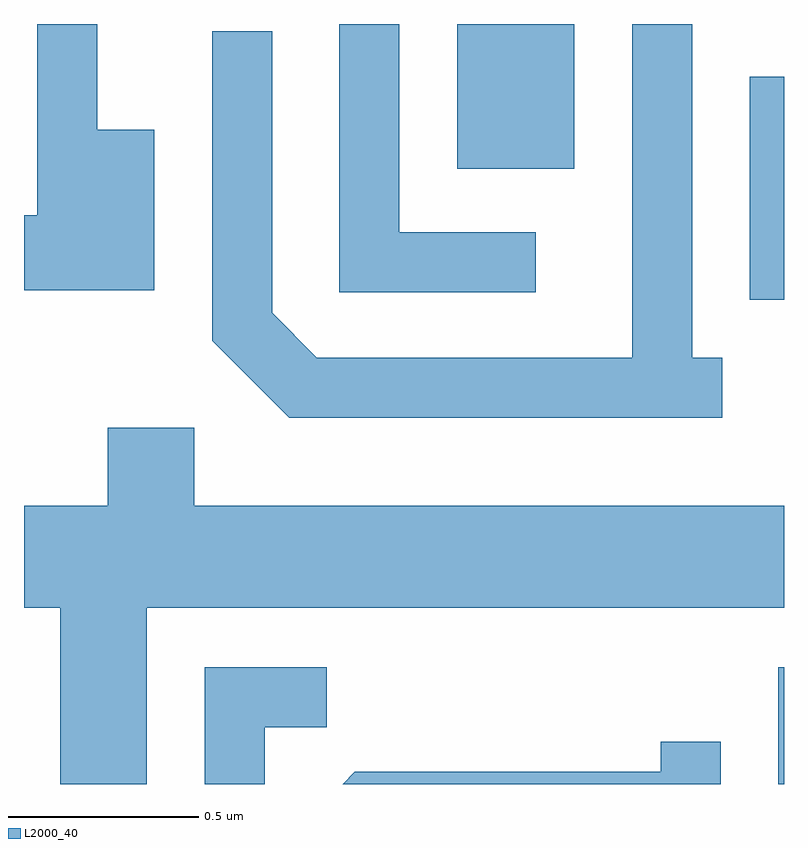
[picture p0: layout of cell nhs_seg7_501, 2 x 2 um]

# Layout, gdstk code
import gdstk
lib = gdstk.Library(unit=1e-6, precision=1e-09)
def R(c, l, rs):  # rectangles x0, y0, x1, y1
    for r in rs: c.add(gdstk.rectangle(r[:2], r[2:], *l))
def P(c, l, *ps):  # polygons
    for p in ps: c.add(gdstk.Polygon(p, *l))
L2000_40 = (2000, 40)

nhs_seg7_501 = lib.new_cell('nhs_seg7_501')
R(nhs_seg7_501, L2000_40, [(190.596,1758.252,190.611,1758.559), (190.521,1759.526,190.611,1760.113), (189.751,1759.871,190.059,1760.252)])
P(nhs_seg7_501, L2000_40, [(190.448,1759.374),(190.369,1759.374),(190.369,1760.252),(190.211,1760.252),(190.211,1759.374),(189.382,1759.374),(189.264,1759.492),(189.264,1760.233),(189.106,1760.233),(189.106,1759.419),(189.309,1759.216),(190.448,1759.216)],
  [(189.958,1759.704),(189.599,1759.704),(189.599,1760.252),(189.441,1760.252),(189.441,1759.546),(189.958,1759.546)],
  [(188.954,1759.974),(188.804,1759.974),(188.804,1760.252),(188.646,1760.252),(188.646,1759.749),(188.611,1759.749),(188.611,1759.551),(188.954,1759.551)],
  [(188.934,1758.716),(190.611,1758.716),(190.611,1758.984),(189.059,1758.984),(189.059,1759.189),(188.831,1759.189),(188.831,1758.984),(188.611,1758.984),(188.611,1758.716),(188.706,1758.716),(188.706,1758.252),(188.934,1758.252)],
  [(189.244,1758.401),(189.408,1758.401),(189.408,1758.559),(189.086,1758.559),(189.086,1758.252),(189.244,1758.252)],
  [(190.444,1758.363),(190.286,1758.363),(190.286,1758.284),(189.482,1758.284),(189.45,1758.252),(190.444,1758.252)])

lib.write_gds('nhs_seg7_501.gds')
